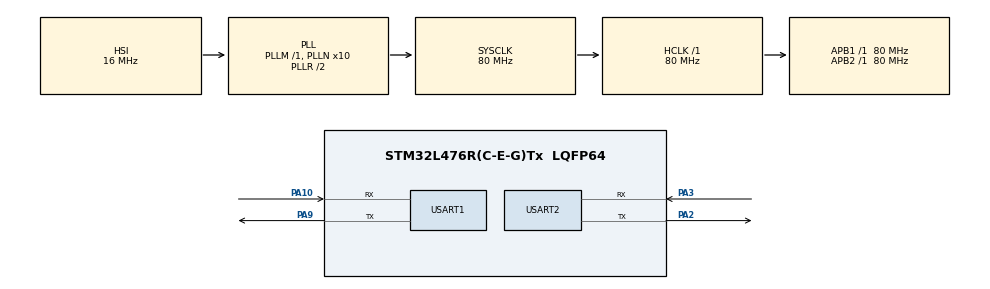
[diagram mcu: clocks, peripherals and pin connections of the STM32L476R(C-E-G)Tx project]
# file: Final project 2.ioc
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Mcu.Family=STM32L4
Mcu.Name=STM32L476R(C-E-G)Tx
Mcu.Package=LQFP64
NVIC.PriorityGroup=NVIC_PRIORITYGROUP_4
PA10.Mode=Asynchronous
PA10.Signal=USART1_RX
PA2.Mode=Asynchronous
PA2.Signal=USART2_TX
PA3.Mode=Asynchronous
PA3.Signal=USART2_RX
PA9.Mode=Asynchronous
PA9.Signal=USART1_TX
ProjectManager.HeapSize=0x2000
ProjectManager.StackSize=0x800
ProjectManager.TargetToolchain=SW4STM32
RCC.ADCFreq_Value=64000000
RCC.AHBFreq_Value=80000000
RCC.APB1Freq_Value=80000000
RCC.APB1TimFreq_Value=80000000
RCC.APB2Freq_Value=80000000
RCC.APB2TimFreq_Value=80000000
RCC.CortexFreq_Value=80000000
RCC.HCLKFreq_Value=80000000
RCC.HSE_VALUE=8000000
RCC.HSI_VALUE=16000000
RCC.LSE_VALUE=32768
RCC.MSI_VALUE=4000000
RCC.PLLN=10
RCC.PLLSourceVirtual=RCC_PLLSOURCE_HSI
RCC.PREFETCH_ENABLE=1
RCC.SYSCLKFreq_VALUE=80000000
RCC.SYSCLKSource=RCC_SYSCLKSOURCE_PLLCLK
RCC.USBFreq_Value=64000000
RCC.VCOOutputFreq_Value=160000000
STMicroelectronics.X-CUBE-AI.5.0.0.ActivationBufferSizeList=70144
STMicroelectronics.X-CUBE-AI.5.0.0.ApplicationCcArtificialOoIntelligenceJjApplication=ApplicationTemplate
STMicroelectronics.X-CUBE-AI.5.0.0.ArtificialOoIntelligenceJjApplication.cmp_version0=5.0.0
STMicroelectronics.X-CUBE-AI.5.0.0.ArtificialOoIntelligenceJjApplication.component0=Artificial Intelligence
STMicroelectronics.X-CUBE-AI.5.0.0.ArtificialOoIntelligenceJjApplication.description0=AI Application,Application Template
STMicroelectronics.X-CUBE-AI.5.0.0.ArtificialOoIntelligenceJjApplication.diagnostic0=This component should operate correctly.
STMicroelectronics.X-CUBE-AI.5.0.0.ArtificialOoIntelligenceJjApplication.documentation0=Documentation/index.html
STMicroelectronics.X-CUBE-AI.5.0.0.ArtificialOoIntelligenceJjApplication.group0=Application
STMicroelectronics.X-CUBE-AI.5.0.0.ArtificialOoIntelligenceJjApplication.paramName0=ApplicationCcArtificialOoIntelligenceJjApplication
STMicroelectronics.X-CUBE-AI.5.0.0.ArtificialOoIntelligenceJjApplication.sevirity0=none
STMicroelectronics.X-CUBE-AI.5.0.0.ArtificialOoIntelligenceJjApplication.variant0=ApplicationTemplate
STMicroelectronics.X-CUBE-AI.5.0.0.ArtificialOoIntelligenceJjApplication_bundle=Application
STMicroelectronics.X-CUBE-AI.5.0.0.ArtificialOoIntelligenceJjApplication_class=ArtificialOoIntelligence
STMicroelectronics.X-CUBE-AI.5.0.0.ArtificialOoIntelligenceJjApplication_name=X-CUBE-AI
STMicroelectronics.X-CUBE-AI.5.0.0.ArtificialOoIntelligenceJjApplication_size=1
STMicroelectronics.X-CUBE-AI.5.0.0.ArtificialOoIntelligenceJjApplication_vendor=STMicroelectronics
STMicroelectronics.X-CUBE-AI.5.0.0.ArtificialOoIntelligenceJjApplication_version=5.0.0
STMicroelectronics.X-CUBE-AI.5.0.0.ArtificialOoIntelligenceJjXAaCUBEAaAI.cmp_version0=5.0.0
STMicroelectronics.X-CUBE-AI.5.0.0.ArtificialOoIntelligenceJjXAaCUBEAaAI.cmp_version1=5.0.0
STMicroelectronics.X-CUBE-AI.5.0.0.ArtificialOoIntelligenceJjXAaCUBEAaAI.component0=Artificial Intelligence
STMicroelectronics.X-CUBE-AI.5.0.0.ArtificialOoIntelligenceJjXAaCUBEAaAI.component1=Artificial Intelligence
STMicroelectronics.X-CUBE-AI.5.0.0.ArtificialOoIntelligenceJjXAaCUBEAaAI.componentDoc0=nofile
STMicroelectronics.X-CUBE-AI.5.0.0.ArtificialOoIntelligenceJjXAaCUBEAaAI.description0=AI Core,Artificial Intelligence for STM32
STMicroelectronics.X-CUBE-AI.5.0.0.ArtificialOoIntelligenceJjXAaCUBEAaAI.description1=AI Application,Application Template
STMicroelectronics.X-CUBE-AI.5.0.0.ArtificialOoIntelligenceJjXAaCUBEAaAI.diagnostic0=This component should operate correctly.
STMicroelectronics.X-CUBE-AI.5.0.0.ArtificialOoIntelligenceJjXAaCUBEAaAI.diagnostic1=This component should operate correctly.
STMicroelectronics.X-CUBE-AI.5.0.0.ArtificialOoIntelligenceJjXAaCUBEAaAI.documentation0=Documentation/index.html
STMicroelectronics.X-CUBE-AI.5.0.0.ArtificialOoIntelligenceJjXAaCUBEAaAI.documentation1=Documentation/index.html
STMicroelectronics.X-CUBE-AI.5.0.0.ArtificialOoIntelligenceJjXAaCUBEAaAI.group0=Core
STMicroelectronics.X-CUBE-AI.5.0.0.ArtificialOoIntelligenceJjXAaCUBEAaAI.group1=Application
STMicroelectronics.X-CUBE-AI.5.0.0.ArtificialOoIntelligenceJjXAaCUBEAaAI.paramName0=XAaCUBEAaAICcArtificialOoIntelligenceJjCore
STMicroelectronics.X-CUBE-AI.5.0.0.ArtificialOoIntelligenceJjXAaCUBEAaAI.paramName1=ApplicationCcArtificialOoIntelligenceJjApplication
STMicroelectronics.X-CUBE-AI.5.0.0.ArtificialOoIntelligenceJjXAaCUBEAaAI.sevirity0=none
STMicroelectronics.X-CUBE-AI.5.0.0.ArtificialOoIntelligenceJjXAaCUBEAaAI.sevirity1=none
STMicroelectronics.X-CUBE-AI.5.0.0.ArtificialOoIntelligenceJjXAaCUBEAaAI.variant1=ApplicationTemplate
STMicroelectronics.X-CUBE-AI.5.0.0.ArtificialOoIntelligenceJjXAaCUBEAaAI_bundle=X-CUBE-AI
STMicroelectronics.X-CUBE-AI.5.0.0.ArtificialOoIntelligenceJjXAaCUBEAaAI_class=ArtificialOoIntelligence
STMicroelectronics.X-CUBE-AI.5.0.0.ArtificialOoIntelligenceJjXAaCUBEAaAI_name=X-CUBE-AI
STMicroelectronics.X-CUBE-AI.5.0.0.ArtificialOoIntelligenceJjXAaCUBEAaAI_size=2
STMicroelectronics.X-CUBE-AI.5.0.0.ArtificialOoIntelligenceJjXAaCUBEAaAI_vendor=STMicroelectronics
STMicroelectronics.X-CUBE-AI.5.0.0.ArtificialOoIntelligenceJjXAaCUBEAaAI_version=5.0.0
STMicroelectronics.X-CUBE-AI.5.0.0.BSP.number=1
STMicroelectronics.X-CUBE-AI.5.0.0.HeapSize=0x2000
STMicroelectronics.X-CUBE-AI.5.0.0.InternalRamActivationBufferMaxSize=AI_HAND_RECOG_DATA_ACTIVATIONS_SIZE
STMicroelectronics.X-CUBE-AI.5.0.0.LatestDirectoryUsed-c4efaeba21d8a384c2715af24a838c6afb12d0c17ecb4019e2ff531f04b720a5=C\:\\Users\\Man\\Documents
STMicroelectronics.X-CUBE-AI.5.0.0.MaximumNumberOfInputLayer=1
STMicroelectronics.X-CUBE-AI.5.0.0.MaximumNumberOfOutputLayer=1
STMicroelectronics.X-CUBE-AI.5.0.0.MaximumSizeOfInputLayer=1536
STMicroelectronics.X-CUBE-AI.5.0.0.MaximumSizeOfOutputLayer=40
STMicroelectronics.X-CUBE-AI.5.0.0.ModelActualCompression-c4efaeba21d8a384c2715af24a838c6afb12d0c17ecb4019e2ff531f04b720a5=0.0
STMicroelectronics.X-CUBE-AI.5.0.0.ModelCompression-c4efaeba21d8a384c2715af24a838c6afb12d0c17ecb4019e2ff531f04b720a5=8
STMicroelectronics.X-CUBE-AI.5.0.0.ModelFlashOccupation-c4efaeba21d8a384c2715af24a838c6afb12d0c17ecb4019e2ff531f04b720a5=688744
STMicroelectronics.X-CUBE-AI.5.0.0.ModelHashList=c4efaeba21d8a384c2715af24a838c6afb12d0c17ecb4019e2ff531f04b720a5
STMicroelectronics.X-CUBE-AI.5.0.0.ModelKind-c4efaeba21d8a384c2715af24a838c6afb12d0c17ecb4019e2ff531f04b720a5=KERAS
STMicroelectronics.X-CUBE-AI.5.0.0.ModelMacc-c4efaeba21d8a384c2715af24a838c6afb12d0c17ecb4019e2ff531f04b720a5=1503638
STMicroelectronics.X-CUBE-AI.5.0.0.ModelName-c4efaeba21d8a384c2715af24a838c6afb12d0c17ecb4019e2ff531f04b720a5=hand_recog
STMicroelectronics.X-CUBE-AI.5.0.0.ModelNameList=hand_recog
STMicroelectronics.X-CUBE-AI.5.0.0.ModelRamOccupation-c4efaeba21d8a384c2715af24a838c6afb12d0c17ecb4019e2ff531f04b720a5=70144
STMicroelectronics.X-CUBE-AI.5.0.0.ModelStructureFile-c4efaeba21d8a384c2715af24a838c6afb12d0c17ecb4019e2ff531f04b720a5=C\:\\Users\\Man\\Documents\\gesture_model (5).h5
STMicroelectronics.X-CUBE-AI.5.0.0.ModelType-c4efaeba21d8a384c2715af24a838c6afb12d0c17ecb4019e2ff531f04b720a5=Saved model
STMicroelectronics.X-CUBE-AI.5.0.0.NNModelInformation_AchievedCompression-c4efaeba21d8a384c2715af24a838c6afb12d0c17ecb4019e2ff531f04b720a5=0.0
STMicroelectronics.X-CUBE-AI.5.0.0.NNModelInformation_CompressionFactor-c4efaeba21d8a384c2715af24a838c6afb12d0c17ecb4019e2ff531f04b720a5=-0.8619607654505078
STMicroelectronics.X-CUBE-AI.5.0.0.NNModelInformation_EvaluationStatus-c4efaeba21d8a384c2715af24a838c6afb12d0c17ecb4019e2ff531f04b720a5=NOT EVALUATED
STMicroelectronics.X-CUBE-AI.5.0.0.NNModelInformation_HeapSizeNeeded-c4efaeba21d8a384c2715af24a838c6afb12d0c17ecb4019e2ff531f04b720a5=2048
STMicroelectronics.X-CUBE-AI.5.0.0.NNModelInformation_ModelInSizeByName-c4efaeba21d8a384c2715af24a838c6afb12d0c17ecb4019e2ff531f04b720a5={input_0\=1536}
STMicroelectronics.X-CUBE-AI.5.0.0.NNModelInformation_ModelMacc-c4efaeba21d8a384c2715af24a838c6afb12d0c17ecb4019e2ff531f04b720a5=1503638
STMicroelectronics.X-CUBE-AI.5.0.0.NNModelInformation_ModelName-c4efaeba21d8a384c2715af24a838c6afb12d0c17ecb4019e2ff531f04b720a5=hand_recog
STMicroelectronics.X-CUBE-AI.5.0.0.NNModelInformation_ModelOutSizeByName-c4efaeba21d8a384c2715af24a838c6afb12d0c17ecb4019e2ff531f04b720a5={dense_46_nl\=40}
STMicroelectronics.X-CUBE-AI.5.0.0.NNModelInformation_ModelRam-c4efaeba21d8a384c2715af24a838c6afb12d0c17ecb4019e2ff531f04b720a5=70144
STMicroelectronics.X-CUBE-AI.5.0.0.NNModelInformation_ModelRom-c4efaeba21d8a384c2715af24a838c6afb12d0c17ecb4019e2ff531f04b720a5=688744
STMicroelectronics.X-CUBE-AI.5.0.0.NNModelInformation_ModelSize-c4efaeba21d8a384c2715af24a838c6afb12d0c17ecb4019e2ff531f04b720a5=4989480
STMicroelectronics.X-CUBE-AI.5.0.0.NNModelInformation_NbOfParameters-c4efaeba21d8a384c2715af24a838c6afb12d0c17ecb4019e2ff531f04b720a5=1247370
STMicroelectronics.X-CUBE-AI.5.0.0.StackSize=0x800
STMicroelectronics.X-CUBE-AI.5.0.0.WorkingBufferStartAddrList=0xFFFFFFFF
STMicroelectronics.X-CUBE-AI.5.0.0.XAaCUBEAaAICcArtificialOoIntelligenceJjCore=true
STMicroelectronics.X-CUBE-AI.5.0.00.BSP.STBoard=false
STMicroelectronics.X-CUBE-AI.5.0.00.BSP.api=Unknown
STMicroelectronics.X-CUBE-AI.5.0.00.BSP.condition=\!SEMArtificialOoIntelligenceJjApplicationJjApplicationTemplate
STMicroelectronics.X-CUBE-AI.5.0.00.BSP.i2caddr=0
STMicroelectronics.X-CUBE-AI.5.0.00.BSP.instance=USART3
STMicroelectronics.X-CUBE-AI.5.0.00.BSP.ip=USART
STMicroelectronics.X-CUBE-AI.5.0.00.BSP.mode=Asynchronous
STMicroelectronics.X-CUBE-AI.5.0.00.BSP.name=COM Port
STMicroelectronics.X-CUBE-AI.5.0.00.BSP.solution=USART3
STMicroelectronics.X-CUBE-AI.5.0.0_ArtificialOoIntelligenceJjApplication_RteComponent0=\#define AI_ApplicationTemplate
STMicroelectronics.X-CUBE-AI.5.0.0_ArtificialOoIntelligenceJjApplication_RteComponentsize=1
STMicroelectronics.X-CUBE-AI.5.0.0_ArtificialOoIntelligenceJjXAaCUBEAaAI_RteComponentsize=0
STMicroelectronics.X-CUBE-AI.5.0.0_MwName0=X-CUBE-AI
STMicroelectronics.X-CUBE-AI.5.0.0_MwName1=Application
STMicroelectronics.X-CUBE-AI.5.0.0_NumberOfMw=2
STMicroelectronics.X-CUBE-AI.5.0.0_description=Artificial Intelligence
STMicroelectronics.X-CUBE-AI.5.0.0_license=SLA0048.txt
USART1.VirtualMode-Asynchronous=VM_ASYNC
USART2.VirtualMode-Asynchronous=VM_ASYNC
VP_CRC_VS_CRC.Mode=CRC_Activate
VP_STMicroelectronics.X-CUBE-AI_VS_ArtificialOoIntelligenceJjApplication_5.0.0.Mode=ArtificialOoIntelligenceJjApplication
VP_STMicroelectronics.X-CUBE-AI_VS_ArtificialOoIntelligenceJjXAaCUBEAaAI_5.0.0.Mode=ArtificialOoIntelligenceJjXAaCUBEAaAI
board=NUCLEO-L476RG

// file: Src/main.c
/* USER CODE BEGIN Header */
/**
******************************************************************************
* @file           : main.c
* @brief          : Main program body
******************************************************************************
* @attention
*
* <h2><center>&copy; Copyright (c) 2020 STMicroelectronics.
* All rights reserved.</center></h2>
*
* This software component is licensed by ST under Ultimate Liberty license
* SLA0044, the "License"; You may not use this file except in compliance with
* the License. You may obtain a copy of the License at:
*                             www.st.com/SLA0044
*
******************************************************************************
*/
/* USER CODE END Header */

#include "main.h"
#include "app_x-cube-ai.h"

/* USER CODE BEGIN Includes */
#include <string.h>
#include <stdlib.h>

/* USER CODE END Includes */

/* USER CODE BEGIN PD */
#define SHAPE 12*32*1 //384
#define SET_REG(REG,SELECT,VAL) {((REG)=((REG)&(~(SELECT)))|(VAL));};

/* USER CODE END PD */

CRC_HandleTypeDef hcrc;

UART_HandleTypeDef huart1;
UART_HandleTypeDef huart2;

/* USER CODE BEGIN PV */
char cmd[100];
int len = 0;
int input[SHAPE] = { 0 };
int read = 0;
char ascii_buffer[4];
int ascii_count = 0;

int end = 0;

/* USER CODE END PV */

void SystemClock_Config(void);
static void MX_GPIO_Init(void);
static void MX_CRC_Init(void);
static void MX_USART1_UART_Init(void);
static void MX_USART2_UART_Init(void);

/* USER CODE BEGIN 0 */
void GPIO_Init(void) {
	RCC->AHB2ENR |= (RCC_AHB2ENR_GPIOAEN | RCC_AHB2ENR_GPIOBEN | RCC_AHB2ENR_GPIOCEN);
	// UART:PA9 & PA10 & PA2 & PA3
	//TM_GPIO_Init(GPIOA, 9, TM_GPIO_Mode_AF, TM_GPIO_OType_PP, TM_GPIO_PuPd_NOPULL, TM_GPIO_Speed_Low);
	GPIOA->MODER = (GPIOA->MODER & 0xFFF3FFFF) | (0b10 << 18); //9
	GPIOA->OTYPER = (GPIOA->OTYPER & 0xFFFFFDFF) | 0;
	GPIOA->PUPDR = GPIOA->PUPDR & 0xFFF3FFFF;
	GPIOA->OSPEEDR = GPIOA->OSPEEDR & 0xFFF3FFFF;
	//TM_GPIO_Init(GPIOA, 10, TM_GPIO_Mode_AF, TM_GPIO_OType_PP, TM_GPIO_PuPd_NOPULL, TM_GPIO_Speed_Low);
	GPIOA->MODER = (GPIOA->MODER & 0xFFCFFFFF) | (0b10 << 20); //10
	GPIOA->OTYPER = (GPIOA->OTYPER & 0xFFFFFBFF) | 0;
	GPIOA->PUPDR = GPIOA->PUPDR & 0xFFCFFFFF;
	GPIOA->OSPEEDR = GPIOA->OSPEEDR & 0xFFCFFFFF;

	GPIOA->MODER = (GPIOA->MODER & 0xFFFFFFCF) | (0b10 << 4); //2
	GPIOA->OTYPER = (GPIOA->OTYPER & 0xFFFFFFFB) | 0;
	GPIOA->PUPDR = GPIOA->PUPDR & 0xFFFFFFCF;
	GPIOA->OSPEEDR = GPIOA->OSPEEDR & 0xFFFFFFCF;

	GPIOA->MODER = (GPIOA->MODER & 0xFFFFFF3F) | (0b10 << 6);//3
	GPIOA->OTYPER = (GPIOA->OTYPER & 0xFFFFFFF7) | 0;
	GPIOA->PUPDR = GPIOA->PUPDR & 0xFFFFFF3F;
	GPIOA->OSPEEDR = GPIOA->OSPEEDR & 0xFFFFFF3F;

	// AF7 for pin9&10
	GPIOA->AFR[1] = (GPIOA->AFR[1] & ~(0x00000FF0)) | 0x00000770;
	//(0111 0111)000000

	GPIOA->AFR[0] = (GPIOA->AFR[0] & ~(0x0000FF00)) | 0x00007700;
	//0000(0111 0111)00

	// BUTTON: PC13
	//TM_GPIO_Init(GPIOC, 13, TM_GPIO_Mode_IN, TM_GPIO_OType_PP, TM_GPIO_PuPd_NOPULL, TM_GPIO_Speed_Medium);
	GPIOC->MODER = (GPIOC->MODER & 0xF3FFFFFF);
	GPIOC->OTYPER = (GPIOC->OTYPER & 0xFFFFDFFF) | 0;
	GPIOC->PUPDR = GPIOC->PUPDR & 0xF3FFFFFF;
	GPIOC->OSPEEDR = (GPIOC->OSPEEDR & 0xF3FFFFFF) | (0b01 << 26);
}

//PA9 & PA10 => USART1
void USART1_Init(void) {
	/* Enable clock for USART1 */
	RCC->APB2ENR |= RCC_APB2ENR_USART1EN;
	// CR1 /* Receiver Enable & Transmitter Enable */
	//MODIFY_REG(USART1->CR1, USART_CR1_M | USART_CR1_PS | USART_CR1_PCE | USART_CR1_TE | USART_CR1_RE | USART_CR1_OVER8, USART_CR1_TE | USART_CR1_RE);
	SET_REG(USART1->CR1, USART_CR1_M, USART_CR1_M0);//00: 1 Start bit, 8+1 data bits, n stop bits
	SET_REG(USART1->CR1, USART_CR1_PS, 0);//0: Even parity
	SET_REG(USART1->CR1, USART_CR1_PCE, USART_CR1_PCE);//1: the computed parity is inserted at the MSB position(9th bit if M=1)
	SET_REG(USART1->CR1, USART_CR1_TE, 0);
	SET_REG(USART1->CR1, USART_CR1_RE, USART_CR1_RE);//1
	//recv interrupt enable bit
	SET_REG(USART1->CR1, USART_CR1_TXEIE, 0);//0
	SET_REG(USART1->CR1, USART_CR1_TCIE, 0);//0
	SET_REG(USART1->CR1, USART_CR1_RXNEIE, USART_CR1_RXNEIE);//1
	SET_REG(USART1->CR1, USART_CR1_OVER8, 0);//0: Oversampling by 16; 1: Oversampling by 8

	// CR2
	//MODIFY_REG(USART1->CR2, USART_CR2_STOP, 0x0); // 1-bit stop
	SET_REG(USART1->CR2, USART_CR2_STOP, 0);//00: 1 stop bit

	// CR3
	//MODIFY_REG(USART1->CR3, (USART_CR3_RTSE | USART_CR3_CTSE | USART_CR3_ONEBIT), 0x0); // none hwflow control
	SET_REG(USART1->CR3, USART_CR3_RTSE, 0);//0
	SET_REG(USART1->CR3, USART_CR3_CTSE, 0);//0
	SET_REG(USART1->CR3, USART_CR3_ONEBIT, 0);//0
	// BRR
	//MODIFY_REG(USART1->BRR, 0xFF, 4000000L/115200);
	SET_REG(USART1->BRR, 0xFF, 4000000 / 115200);//0
	//clk rate = 4MHz (MSI)

	/*
	In asynchronous mode, the following bits must be kept cleared:
	- LINEN and CLKEN bits in the USART_CR2 register,
	- SCEN, HDSEL and IREN bits in the USART_CR3 register.
	*/
	USART1->CR2 &= ~(USART_CR2_LINEN | USART_CR2_CLKEN);
	USART1->CR3 &= ~(USART_CR3_SCEN | USART_CR3_HDSEL | USART_CR3_IREN);

	// Finally, enable UART

	USART1->CR1 |= (USART_CR1_UE);
}

//PA9 & PA10 => USART1
void USART2_Init(void) {
	/* Enable clock for USART2 */
	RCC->APB1ENR1 |= RCC_APB1ENR1_USART2EN;
	// CR1 /* Receiver Enable & Transmitter Enable */
	//MODIFY_REG(USART1->CR1, USART_CR1_M | USART_CR1_PS | USART_CR1_PCE | USART_CR1_TE | USART_CR1_RE | USART_CR1_OVER8, USART_CR1_TE | USART_CR1_RE);
	SET_REG(USART2->CR1, USART_CR1_M, USART_CR1_M0);//00: 1 Start bit, 8+1 data bits, n stop bits
	SET_REG(USART2->CR1, USART_CR1_PS, 0);//0: Even parity
	SET_REG(USART2->CR1, USART_CR1_PCE, USART_CR1_PCE);//1: the computed parity is inserted at the MSB position(9th bit if M=1)
	SET_REG(USART2->CR1, USART_CR1_TE, 0);
	SET_REG(USART2->CR1, USART_CR1_RE, USART_CR1_RE);//1
	//recv interrupt enable bit
	SET_REG(USART2->CR1, USART_CR1_TXEIE, 0);//0
	SET_REG(USART2->CR1, USART_CR1_TCIE, 0);//0
	SET_REG(USART2->CR1, USART_CR1_RXNEIE, USART_CR1_RXNEIE);//1
	SET_REG(USART2->CR1, USART_CR1_OVER8, 0);//0: Oversampling by 16; 1: Oversampling by 8

	// CR2
	//MODIFY_REG(USART1->CR2, USART_CR2_STOP, 0x0); // 1-bit stop
	SET_REG(USART2->CR2, USART_CR2_STOP, 0);//00: 1 stop bit

	// CR3
	//MODIFY_REG(USART1->CR3, (USART_CR3_RTSE | USART_CR3_CTSE | USART_CR3_ONEBIT), 0x0); // none hwflow control
	SET_REG(USART2->CR3, USART_CR3_RTSE, 0);//0
	SET_REG(USART2->CR3, USART_CR3_CTSE, 0);//0
	SET_REG(USART2->CR3, USART_CR3_ONEBIT, 0);//0
	// BRR
	//MODIFY_REG(USART1->BRR, 0xFF, 4000000L/115200);
	SET_REG(USART2->BRR, 0xFF, 4000000 / 115200);//0
	//clk rate = 4MHz (MSI)

	/*
	In asynchronous mode, the following bits must be kept cleared:
	- LINEN and CLKEN bits in the USART_CR2 register,
	- SCEN, HDSEL and IREN bits in the USART_CR3 register.
	*/
	USART2->CR2 &= ~(USART_CR2_LINEN | USART_CR2_CLKEN);
	USART2->CR3 &= ~(USART_CR3_SCEN | USART_CR3_HDSEL | USART_CR3_IREN);

	// Finally, enable UART

	USART2->CR1 |= (USART_CR1_UE);
}

void EXTI_config()
{
	SET_REG(RCC->APB2ENR, RCC_APB2ENR_SYSCFGEN, RCC_APB2ENR_SYSCFGEN);
	SET_REG(SYSCFG->EXTICR[3], SYSCFG_EXTICR4_EXTI13, SYSCFG_EXTICR4_EXTI13_PC);
	//Interrupt mask(in IMR1)
	SET_REG(EXTI->IMR1, EXTI_IMR1_IM13, EXTI_IMR1_IM13);
	//trigger: rise edge(in FTSR1)
	SET_REG(EXTI->FTSR1, EXTI_FTSR1_FT13, EXTI_FTSR1_FT13);
}

void NVIC_config()
{
	NVIC_EnableIRQ(EXTI15_10_IRQn);
	NVIC_EnableIRQ(USART1_IRQn);
}

int UART_Transmit(uint8_t *arr, uint32_t size) {
	//TODO: Send str to UART and return how many bytes are successfully transmitted.
	SET_REG(USART2->CR1, USART_CR1_TE, USART_CR1_TE);
	int i;
	while ((USART2->ISR & USART_ISR_TXE) == 0);
	for (i = 0; i < size; i++) {
		USART2->TDR = arr[i];
		while ((USART2->ISR & USART_ISR_TXE) == 0);
	}
	while ((USART2->ISR & USART_ISR_TC) == 0);

	return i;
}

void EXTI15_10_IRQHandler(void)
{

	if ((EXTI->PR1 & EXTI_PR1_PIF13) == EXTI_PR1_PIF13)
	{
		unsigned char *s = "Hello World!";
		EXTI->PR1 = EXTI_PR1_PIF13;
		UART_Transmit(s, strlen(s));
		int a = 0;
		while (a<80000) a++;
	}
	NVIC_ClearPendingIRQ(EXTI15_10_IRQn);//clear pending
}

void USART1_IRQHandler(void){
	unsigned char c;

	while ((USART1->ISR & USART_ISR_RXNE) == USART_ISR_RXNE){ //USART_CR1_RXNEIE?
		c = USART1->RDR;
	}
	int cmp = 1;
	if (len >= 100){
		if (c == 127 || c == 8){ //backspace available
			if (len > 0){
				UART_Transmit(&c, 1);
				len--;
			}
		}
		else if (c == 13){//handle 100
			UART_Transmit("\r\n", 4);
			len = 0;
		}
	}
	else{
		if (c == 13){ //\n
			UART_Transmit("\r\n", 4);
			cmd[len] = 0; //remind :\0
			end = 1;
			cmp = strcmp(cmd, "1");
			if (cmp == 0) {

				//Runinterface
			}
			len = 0;
		}
		else if (c == 127 || c == 8){ //back delete
			if (len > 0){
				UART_Transmit(&c, 1);
				cmd[len--] = 0;
			}
		}
		else{
			UART_Transmit(&c, 1);
			cmd[len++] = c;
		}
	}
	if (end == 1){
		UART_Transmit(">", 1);
	}
	end = 0;
	NVIC_ClearPendingIRQ(USART1_IRQn);
}

/* USER CODE END 0 */

int main(void)
{

	/* MCU Configuration--------------------------------------------------------*/

	/* Reset of all peripherals, Initializes the Flash interface and the Systick. */
	HAL_Init();

	/* Configure the system clock */
	SystemClock_Config();

	/* USER CODE BEGIN SysInit */
	GPIO_Init();
	EXTI_config();
	NVIC_config();
	USART1_Init();
	USART2_Init();

	UART_Transmit(">", 1);
	/* USER CODE END SysInit */

	/* Initialize all configured peripherals */
	MX_GPIO_Init();
	MX_CRC_Init();
	MX_USART1_UART_Init();
	MX_USART2_UART_Init();
	MX_X_CUBE_AI_Init();

	/* Infinite loop */
	while (1)
	{

		MX_X_CUBE_AI_Process();
	}
}

void SystemClock_Config(void)
{
	RCC_OscInitTypeDef RCC_OscInitStruct = { 0 };
	RCC_ClkInitTypeDef RCC_ClkInitStruct = { 0 };
	RCC_PeriphCLKInitTypeDef PeriphClkInit = { 0 };

	/** Initializes the CPU, AHB and APB busses clocks
	*/
	RCC_OscInitStruct.OscillatorType = RCC_OSCILLATORTYPE_HSI;
	RCC_OscInitStruct.HSIState = RCC_HSI_ON;
	RCC_OscInitStruct.HSICalibrationValue = RCC_HSICALIBRATION_DEFAULT;
	RCC_OscInitStruct.PLL.PLLState = RCC_PLL_ON;
	RCC_OscInitStruct.PLL.PLLSource = RCC_PLLSOURCE_HSI;
	RCC_OscInitStruct.PLL.PLLM = 1;
	RCC_OscInitStruct.PLL.PLLN = 10;
	RCC_OscInitStruct.PLL.PLLP = RCC_PLLP_DIV7;
	RCC_OscInitStruct.PLL.PLLQ = RCC_PLLQ_DIV2;
	RCC_OscInitStruct.PLL.PLLR = RCC_PLLR_DIV2;
	if (HAL_RCC_OscConfig(&RCC_OscInitStruct) != HAL_OK)
	{
		Error_Handler();
	}
	/** Initializes the CPU, AHB and APB busses clocks
	*/
	RCC_ClkInitStruct.ClockType = RCC_CLOCKTYPE_HCLK | RCC_CLOCKTYPE_SYSCLK
		| RCC_CLOCKTYPE_PCLK1 | RCC_CLOCKTYPE_PCLK2;
	RCC_ClkInitStruct.SYSCLKSource = RCC_SYSCLKSOURCE_PLLCLK;
	RCC_ClkInitStruct.AHBCLKDivider = RCC_SYSCLK_DIV1;
	RCC_ClkInitStruct.APB1CLKDivider = RCC_HCLK_DIV1;
	RCC_ClkInitStruct.APB2CLKDivider = RCC_HCLK_DIV1;

	if (HAL_RCC_ClockConfig(&RCC_ClkInitStruct, FLASH_LATENCY_4) != HAL_OK)
	{
		Error_Handler();
	}
	PeriphClkInit.PeriphClockSelection = RCC_PERIPHCLK_USART1 | RCC_PERIPHCLK_USART2;
	PeriphClkInit.Usart1ClockSelection = RCC_USART1CLKSOURCE_PCLK2;
	PeriphClkInit.Usart2ClockSelection = RCC_USART2CLKSOURCE_PCLK1;
	if (HAL_RCCEx_PeriphCLKConfig(&PeriphClkInit) != HAL_OK)
	{
		Error_Handler();
	}
	/** Configure the main internal regulator output voltage
	*/
	if (HAL_PWREx_ControlVoltageScaling(PWR_REGULATOR_VOLTAGE_SCALE1) != HAL_OK)
	{
		Error_Handler();
	}
}

static void MX_CRC_Init(void)
{

	hcrc.Instance = CRC;
	hcrc.Init.DefaultPolynomialUse = DEFAULT_POLYNOMIAL_ENABLE;
	hcrc.Init.DefaultInitValueUse = DEFAULT_INIT_VALUE_ENABLE;
	hcrc.Init.InputDataInversionMode = CRC_INPUTDATA_INVERSION_NONE;
	hcrc.Init.OutputDataInversionMode = CRC_OUTPUTDATA_INVERSION_DISABLE;
	hcrc.InputDataFormat = CRC_INPUTDATA_FORMAT_BYTES;
	if (HAL_CRC_Init(&hcrc) != HAL_OK)
	{
		Error_Handler();
	}

}

static void MX_USART1_UART_Init(void)
{

	huart1.Instance = USART1;
	huart1.Init.BaudRate = 115200;
	huart1.Init.WordLength = UART_WORDLENGTH_8B;
	huart1.Init.StopBits = UART_STOPBITS_1;
	huart1.Init.Parity = UART_PARITY_NONE;
	huart1.Init.Mode = UART_MODE_TX_RX;
	huart1.Init.HwFlowCtl = UART_HWCONTROL_NONE;
	huart1.Init.OverSampling = UART_OVERSAMPLING_16;
	huart1.Init.OneBitSampling = UART_ONE_BIT_SAMPLE_DISABLE;
	huart1.AdvancedInit.AdvFeatureInit = UART_ADVFEATURE_NO_INIT;
	if (HAL_UART_Init(&huart1) != HAL_OK)
	{
		Error_Handler();
	}

}

static void MX_USART2_UART_Init(void)
{

	huart2.Instance = USART2;
	huart2.Init.BaudRate = 115200;
	huart2.Init.WordLength = UART_WORDLENGTH_8B;
	huart2.Init.StopBits = UART_STOPBITS_1;
	huart2.Init.Parity = UART_PARITY_NONE;
	huart2.Init.Mode = UART_MODE_TX_RX;
	huart2.Init.HwFlowCtl = UART_HWCONTROL_NONE;
	huart2.Init.OverSampling = UART_OVERSAMPLING_16;
	huart2.Init.OneBitSampling = UART_ONE_BIT_SAMPLE_DISABLE;
	huart2.AdvancedInit.AdvFeatureInit = UART_ADVFEATURE_NO_INIT;
	if (HAL_UART_Init(&huart2) != HAL_OK)
	{
		Error_Handler();
	}

}

static void MX_GPIO_Init(void)
{

	/* GPIO Ports Clock Enable */
	__HAL_RCC_GPIOA_CLK_ENABLE();

}

void Error_Handler(void)
{
}

/************************ (C) COPYRIGHT STMicroelectronics *****END OF FILE****/
